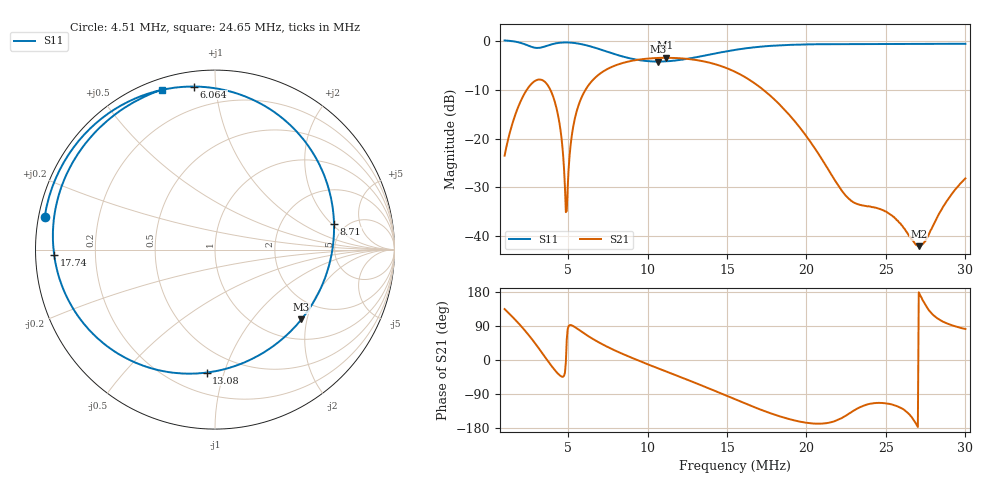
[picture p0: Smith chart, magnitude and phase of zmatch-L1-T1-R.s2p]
# HZ S RI R 50
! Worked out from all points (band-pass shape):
!   505 points, 1 MHz to 30 MHz, reference 50 ohm
!   highest |S21| = -3.40 dB at 11.13 MHz (marker M1); lowest = -42.1 dB at 27.07 MHz (marker M2)
!   |S21| within 3 dB of the highest: 7.114 MHz to 15.58 MHz (8.468 MHz wide, 74.6 % of centre)
!   lowest |S11| = -4.2 dB at 10.67 MHz (marker M3), VSWR 4.25, Z = 73.4 - j92.5 ohm
!   |S11| at or under -10 dB: nowhere
!   S12 and S22 are empty: the file has one direction only
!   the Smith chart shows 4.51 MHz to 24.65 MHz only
!   S11 on the Smith chart (normalised r, x): 4.51 MHz: 0.02, +0.09; 6.064 MHz: 0.08, +0.88; 8.71 MHz: 4.02, +2.14; 13.08 MHz: 0.34, -0.88; 17.74 MHz: 0.05, -0.02; 24.65 MHz: 0.05, +0.72
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1000000  -0.5975 0.8254  -0.0469 0.0478  0 0  0 0
1920640  0.3392 0.9101  -0.019 0.2238  0 0  0 0
2611120  0.8861 0.0253  0.1727 0.309  0 0  0 0
3359140  -0.0476 -0.8662  0.3789 0.1281  0 0  0 0
3934540  -0.8075 -0.4561  0.2939 -0.0767  0 0  0 0
4509940  -0.9493 0.1812  0.0933 -0.0832  0 0  0 0
4912720  -0.8165 0.5284  0.0105 0.0149  0 0  0 0
5257960  -0.6277 0.7336  -0.00166 0.116  0 0  0 0
5833360  -0.2603 0.8968  0.0681 0.2538  0 0  0 0
6063520  -0.1155 0.9085  0.1144 0.2901  0 0  0 0
7329400  0.4729 0.6373  0.399 0.3077  0 0  0 0
8710360  0.6631 0.1439  0.6036 0.1171  0 0  0 0
1.066672e7  0.4813 -0.389  0.6243 -0.2544  0 0  0 0
1.112704e7  0.3992 -0.4766  0.5878 -0.3348  0 0  0 0
1.30834e7  -0.0462 -0.6852  0.3026 -0.5647  0 0  0 0
1.550008e7  -0.6359 -0.5101  -0.115 -0.4723  0 0  0 0
1.774414e7  -0.8965 -0.0277  -0.2119 -0.1736  0 0  0 0
2.033344e7  -0.7911 0.4888  -0.0863 -0.0194  0 0  0 0
2.464894e7  -0.293 0.8919  -0.00758 -0.0173  0 0  0 0
2.51668e7  -0.2306 0.9107  -0.00734 -0.0155  0 0  0 0
2.706562e7  -0.0116 0.9406  -0.00788 0.000186  0 0  0 0
3.000016e7  0.285 0.8968  0.00561 0.0387  0 0  0 0
